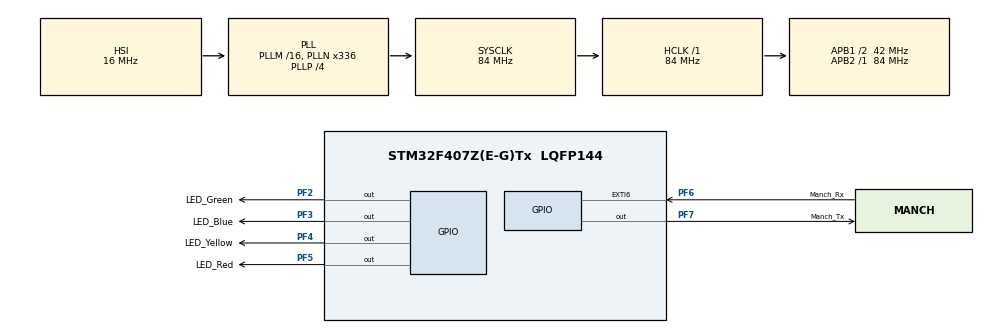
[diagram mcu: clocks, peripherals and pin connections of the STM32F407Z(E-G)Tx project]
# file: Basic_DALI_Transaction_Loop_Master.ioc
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Mcu.Family=STM32F4
Mcu.Name=STM32F407Z(E-G)Tx
Mcu.Package=LQFP144
NVIC.EXTI9_5_IRQn=true\:1\:0\:true\:false\:true\:true
NVIC.PriorityGroup=NVIC_PRIORITYGROUP_4
NVIC.TIM2_IRQn=true\:1\:0\:true\:false\:true\:true
PF2.GPIO_Label=LED_Green
PF2.GPIO_PuPd=GPIO_PULLDOWN
PF2.Signal=GPIO_Output
PF3.GPIO_Label=LED_Blue
PF3.GPIO_PuPd=GPIO_PULLDOWN
PF3.Signal=GPIO_Output
PF4.GPIO_Label=LED_Yellow
PF4.GPIO_PuPd=GPIO_PULLDOWN
PF4.Signal=GPIO_Output
PF5.GPIO_Label=LED_Red
PF5.GPIO_PuPd=GPIO_PULLDOWN
PF5.Signal=GPIO_Output
PF6.GPIO_Label=Manch_Rx
PF6.GPIO_ModeDefaultEXTI=GPIO_MODE_IT_RISING_FALLING
PF6.GPIO_PuPd=GPIO_PULLDOWN
PF6.Signal=GPXTI6
PF7.GPIO_Label=Manch_Tx
PF7.GPIO_PuPd=GPIO_PULLDOWN
PF7.Signal=GPIO_Output
ProjectManager.HeapSize=0x200
ProjectManager.StackSize=0x400
ProjectManager.TargetToolchain=Makefile
RCC.48MHZClocksFreq_Value=84000000
RCC.AHBFreq_Value=84000000
RCC.APB1CLKDivider=RCC_HCLK_DIV2
RCC.APB1Freq_Value=42000000
RCC.APB1TimFreq_Value=84000000
RCC.APB2Freq_Value=84000000
RCC.APB2TimFreq_Value=84000000
RCC.CortexFreq_Value=84000000
RCC.HCLKFreq_Value=84000000
RCC.HSE_VALUE=25000000
RCC.HSI_VALUE=16000000
RCC.LSE_VALUE=32768
RCC.PLLN=336
RCC.PLLP=RCC_PLLP_DIV4
RCC.SYSCLKFreq_VALUE=84000000
RCC.SYSCLKSource=RCC_SYSCLKSOURCE_PLLCLK
RCC.VCOOutputFreq_Value=336000000
TIM2.Period=103
TIM2.Prescaler=83
VP_TIM2_VS_ClockSourceINT.Mode=Internal
board=Basic_DALI_Transaction_Loop_Master

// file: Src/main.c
/**
  ******************************************************************************
  * File Name          : main.c
  * Description        : Main program body
  ******************************************************************************
  ** This notice applies to any and all portions of this file
  * that are not between comment pairs USER CODE BEGIN and
  * USER CODE END. Other portions of this file, whether
  * inserted by the user or by software development tools
  * are owned by their respective copyright owners.
  *
  * COPYRIGHT(c) 2017 STMicroelectronics
  *
  * Redistribution and use in source and binary forms, with or without modification,
  * are permitted provided that the following conditions are met:
  *   1. Redistributions of source code must retain the above copyright notice,
  *      this list of conditions and the following disclaimer.
  *   2. Redistributions in binary form must reproduce the above copyright notice,
  *      this list of conditions and the following disclaimer in the documentation
  *      and/or other materials provided with the distribution.
  *   3. Neither the name of STMicroelectronics nor the names of its contributors
  *      may be used to endorse or promote products derived from this software
  *      without specific prior written permission.
  *
  * THIS SOFTWARE IS PROVIDED BY THE COPYRIGHT HOLDERS AND CONTRIBUTORS "AS IS"
  * AND ANY EXPRESS OR IMPLIED WARRANTIES, INCLUDING, BUT NOT LIMITED TO, THE
  * IMPLIED WARRANTIES OF MERCHANTABILITY AND FITNESS FOR A PARTICULAR PURPOSE ARE
  * DISCLAIMED. IN NO EVENT SHALL THE COPYRIGHT HOLDER OR CONTRIBUTORS BE LIABLE
  * FOR ANY DIRECT, INDIRECT, INCIDENTAL, SPECIAL, EXEMPLARY, OR CONSEQUENTIAL
  * DAMAGES (INCLUDING, BUT NOT LIMITED TO, PROCUREMENT OF SUBSTITUTE GOODS OR
  * SERVICES; LOSS OF USE, DATA, OR PROFITS; OR BUSINESS INTERRUPTION) HOWEVER
  * CAUSED AND ON ANY THEORY OF LIABILITY, WHETHER IN CONTRACT, STRICT LIABILITY,
  * OR TORT (INCLUDING NEGLIGENCE OR OTHERWISE) ARISING IN ANY WAY OUT OF THE USE
  * OF THIS SOFTWARE, EVEN IF ADVISED OF THE POSSIBILITY OF SUCH DAMAGE.
  *
  ******************************************************************************
  */

#include "main.h"
#include "stm32f4xx_hal.h"

/* USER CODE BEGIN Includes */
//DALI STATES
#define SENDING_DATA 1

//pin states
#define DALI_START_BIT_PULSE 0
#define DALI_END_BIT_PULSE 1
/* USER CODE END Includes */

TIM_HandleTypeDef htim2;

/* USER CODE BEGIN PV */
/* Private variables ---------------------------------------------------------*/
// MANCHESTER ENCODING VARIABLES
/* Half-bit period T value in usec(microsecond)s*/
/* static uint32_t T = 416; */

//MASTER DATA SENDING VARIABLES
/* This array represents the forward frame with address and cmd bytes */
unsigned char dali_master_array_cmd[17] = {};

/* /\* This array represents the received response from slave *\/ */
volatile unsigned char dali_master_array_receive_buffer[9] = {};

// uncertain
unsigned char ballastAddr = 0xD5;
unsigned char cmd = 0x56;

// actual and former value variables
unsigned char actual_val;
unsigned char former_val;

unsigned char dali_state;

// MANCHESTER DECODING VARIABLES

/* This variable designates first interrupt for Manchester-Decoding*/
unsigned char start_timer = 0;

/* This variable is used to measure the ticks of timer2 */
int tick_count = 0;

unsigned char bit_count = 0;

/* USER CODE END PV */

void SystemClock_Config(void);
static void MX_GPIO_Init(void);
static void MX_TIM2_Init(void);

/* USER CODE BEGIN PFP */
/* Private function prototypes -----------------------------------------------*/
void DALI_Master_Sending_Data(void);
void PrepareDataToSend(unsigned char *commandArray, unsigned char *tx_array, unsigned char bytesInCmd);
void DALI_Send_Cmd(unsigned char ballastAddr, unsigned char cmd);
/* USER CODE END PFP */

int main(void)
{

  /* MCU Configuration----------------------------------------------------------*/

  /* Reset of all peripherals, Initializes the Flash interface and the Systick. */
  HAL_Init();

  /* Configure the system clock */
  SystemClock_Config();

  /* Initialize all configured peripherals */
  MX_GPIO_Init();
  MX_TIM2_Init();

  /* USER CODE BEGIN 2 */
  HAL_GPIO_WritePin(Manch_Tx_GPIO_Port, Manch_Tx_Pin, GPIO_PIN_SET);
  /* HAL_Delay(1); */
  if(HAL_TIM_Base_Start_IT(&htim2) != HAL_OK)
    {
      _Error_Handler(__FILE__, __LINE__);
    }
  // using DALI_Send_Cmd function modified!! without typeofCmd and followingType variables)
  DALI_Send_Cmd(ballastAddr, cmd);
  /* USER CODE END 2 */

  /* Infinite loop */
  while (1)
  {

  }

}

/** System Clock Configuration
*/
void SystemClock_Config(void)
{

  RCC_OscInitTypeDef RCC_OscInitStruct;
  RCC_ClkInitTypeDef RCC_ClkInitStruct;

    /**Configure the main internal regulator output voltage
    */
  __HAL_RCC_PWR_CLK_ENABLE();

  __HAL_PWR_VOLTAGESCALING_CONFIG(PWR_REGULATOR_VOLTAGE_SCALE1);

    /**Initializes the CPU, AHB and APB busses clocks
    */
  RCC_OscInitStruct.OscillatorType = RCC_OSCILLATORTYPE_HSI;
  RCC_OscInitStruct.HSIState = RCC_HSI_ON;
  RCC_OscInitStruct.HSICalibrationValue = 16;
  RCC_OscInitStruct.PLL.PLLState = RCC_PLL_ON;
  RCC_OscInitStruct.PLL.PLLSource = RCC_PLLSOURCE_HSI;
  RCC_OscInitStruct.PLL.PLLM = 16;
  RCC_OscInitStruct.PLL.PLLN = 336;
  RCC_OscInitStruct.PLL.PLLP = RCC_PLLP_DIV4;
  RCC_OscInitStruct.PLL.PLLQ = 4;
  if (HAL_RCC_OscConfig(&RCC_OscInitStruct) != HAL_OK)
  {
    _Error_Handler(__FILE__, __LINE__);
  }

    /**Initializes the CPU, AHB and APB busses clocks
    */
  RCC_ClkInitStruct.ClockType = RCC_CLOCKTYPE_HCLK|RCC_CLOCKTYPE_SYSCLK
                              |RCC_CLOCKTYPE_PCLK1|RCC_CLOCKTYPE_PCLK2;
  RCC_ClkInitStruct.SYSCLKSource = RCC_SYSCLKSOURCE_PLLCLK;
  RCC_ClkInitStruct.AHBCLKDivider = RCC_SYSCLK_DIV1;
  RCC_ClkInitStruct.APB1CLKDivider = RCC_HCLK_DIV2;
  RCC_ClkInitStruct.APB2CLKDivider = RCC_HCLK_DIV1;

  if (HAL_RCC_ClockConfig(&RCC_ClkInitStruct, FLASH_LATENCY_2) != HAL_OK)
  {
    _Error_Handler(__FILE__, __LINE__);
  }

    /**Configure the Systick interrupt time
    */
  HAL_SYSTICK_Config(HAL_RCC_GetHCLKFreq()/1000);

    /**Configure the Systick
    */
  HAL_SYSTICK_CLKSourceConfig(SYSTICK_CLKSOURCE_HCLK);

  /* SysTick_IRQn interrupt configuration */
  HAL_NVIC_SetPriority(SysTick_IRQn, 0, 0);
}

/* TIM2 init function */
static void MX_TIM2_Init(void)
{

  TIM_ClockConfigTypeDef sClockSourceConfig;
  TIM_MasterConfigTypeDef sMasterConfig;

  htim2.Instance = TIM2;
  htim2.Init.Prescaler = 83;
  htim2.Init.CounterMode = TIM_COUNTERMODE_UP;
  htim2.Init.Period = 103;
  htim2.Init.ClockDivision = TIM_CLOCKDIVISION_DIV1;
  if (HAL_TIM_Base_Init(&htim2) != HAL_OK)
  {
    _Error_Handler(__FILE__, __LINE__);
  }

  sClockSourceConfig.ClockSource = TIM_CLOCKSOURCE_INTERNAL;
  if (HAL_TIM_ConfigClockSource(&htim2, &sClockSourceConfig) != HAL_OK)
  {
    _Error_Handler(__FILE__, __LINE__);
  }

  sMasterConfig.MasterOutputTrigger = TIM_TRGO_RESET;
  sMasterConfig.MasterSlaveMode = TIM_MASTERSLAVEMODE_DISABLE;
  if (HAL_TIMEx_MasterConfigSynchronization(&htim2, &sMasterConfig) != HAL_OK)
  {
    _Error_Handler(__FILE__, __LINE__);
  }

}

/** Configure pins as
        * Analog
        * Input
        * Output
        * EVENT_OUT
        * EXTI
*/
static void MX_GPIO_Init(void)
{

  GPIO_InitTypeDef GPIO_InitStruct;

  /* GPIO Ports Clock Enable */
  __HAL_RCC_GPIOF_CLK_ENABLE();

  /*Configure GPIO pin Output Level */
  HAL_GPIO_WritePin(GPIOF, LED_Green_Pin|LED_Blue_Pin|LED_Yellow_Pin|LED_Red_Pin
                          |Manch_Tx_Pin, GPIO_PIN_RESET);

  /*Configure GPIO pins : LED_Green_Pin LED_Blue_Pin LED_Yellow_Pin LED_Red_Pin
                           Manch_Tx_Pin */
  GPIO_InitStruct.Pin = LED_Green_Pin|LED_Blue_Pin|LED_Yellow_Pin|LED_Red_Pin
                          |Manch_Tx_Pin;
  GPIO_InitStruct.Mode = GPIO_MODE_OUTPUT_PP;
  GPIO_InitStruct.Pull = GPIO_PULLDOWN;
  GPIO_InitStruct.Speed = GPIO_SPEED_FREQ_LOW;
  HAL_GPIO_Init(GPIOF, &GPIO_InitStruct);

  /*Configure GPIO pin : Manch_Rx_Pin */
  GPIO_InitStruct.Pin = Manch_Rx_Pin;
  GPIO_InitStruct.Mode = GPIO_MODE_IT_RISING_FALLING;
  GPIO_InitStruct.Pull = GPIO_PULLDOWN;
  HAL_GPIO_Init(Manch_Rx_GPIO_Port, &GPIO_InitStruct);

  /* EXTI interrupt init*/
  HAL_NVIC_SetPriority(EXTI9_5_IRQn, 1, 0);
  HAL_NVIC_EnableIRQ(EXTI9_5_IRQn);

}

/* USER CODE BEGIN 4 */
/* This function is used together with PrepareDatatoSend fucntion to manchester encode the ballastAddr and cmd values */
void DALI_Send_Cmd(unsigned char ballastAddr, unsigned char cmd)
{

  unsigned char data_array[2] = {};
  /* unsigned char i; */

  /*++++++++++++++++++++++++++++++++++++++++++++++++++++++++++++++++++++*/

  /* Here supposed to be starting the Manch_Tx pin in HIGH state or
     SETTLING STATE but for now it has been skipped */
  // Set Manch_Tx pin as high
  /* HAL_GPIO_WritePin(Manch_Tx_GPIO_Port, Manch_Tx_Pin, GPIO_PIN_SET); */

  /*++++++++++++++++++++++++++++++++++++++++++++++++++++++++++++++++++++*/

  // reset tick_count and bit_count values
  tick_count = 0;
  bit_count = 0;

  // fetch ballast address and command
  data_array[0] = (char)ballastAddr;
  data_array[1] = (char)cmd;
  PrepareDataToSend(data_array, dali_master_array_cmd, 2);

  // set DALI state to send DATA
  dali_state = SENDING_DATA;

}
void PrepareDataToSend(unsigned char *commandArray, unsigned char *tx_array, unsigned char bytesInCmd)
{
  // set default value for the mask
  unsigned char mask = 0x80;
  // variable which hold one byte value - one element from commandArray
  unsigned char dummy;

  // number of bytes in command
  unsigned char bytes_counter;
  unsigned char i;
  // number of active bit
  unsigned char bitCounter = 0;

  //????????????????????????????????????????//
  /* Why does it need to be initialized ?? */
  for (i = 0; i < 9; i++)
    {
      tx_array[0] = 0;
    }

  // loop through all bytes in commandArray
  for(bytes_counter = 0; bytes_counter < bytesInCmd; bytes_counter++)
    {
      // assign byte for use
      dummy = commandArray[bytes_counter];
      // set mask to default value
      mask = 0x80;
      // increment number of active bit
      bitCounter++;
      // check if active bit is the first one
      if(bitCounter == 1)
	{
	  // Start bit is always 1 - in manchester that is END_BIT_PULSE
	  tx_array[0] = DALI_END_BIT_PULSE;
	}

      // 2 byte command
      for(i = 1; i < 9; i++)
	{
	  // check if bit is one
	  if(dummy & mask)
	    {
	      // assign pulse value
	      tx_array[i + (8 * bytes_counter)] = DALI_END_BIT_PULSE;
	    }
	  else
	    {
	      tx_array[i + (8 * bytes_counter)] = DALI_START_BIT_PULSE;
	    }
	  // check mask value
	  if(mask == 0x01)
	    {
	      mask <<= 7; // shift mask bit to MSB
	    }
	  else
	    {
	      mask >>= 1; // shift mask bit to 1 right
	    }
	}
    }
}
void HAL_TIM_PeriodElapsedCallback(TIM_HandleTypeDef *htim)
{
  if(dali_state == SENDING_DATA)
    {
      DALI_Master_Sending_Data();
    }
}

/* void DALI_Master_Receiving_Data(void) */
/* { */
/*   // Yet to configure */

/* } */
/* Included start_bit as 1 */
void DALI_Master_Sending_Data(void)
{
  unsigned char pulsePosition = 0;
  if(tick_count < 8)
    {
      /* +++++++++++++++++++++++++++++++++++++++++++++++++++++++++++++++++*/
      /* This line is added just to give the starting interrupt so
	 that the timer stars counting ...!! */
      HAL_GPIO_WritePin(Manch_Tx_GPIO_Port, Manch_Tx_Pin, GPIO_PIN_SET);
      /* Uncertain about the above text anyway! Has to be changed
	 accordingly */
      /*+++++++++++++++++++++++++++++++++++++++++++++++++++++++++++++++++*/
      if(tick_count < 4)
	{
	  HAL_GPIO_WritePin(Manch_Tx_GPIO_Port, Manch_Tx_Pin, GPIO_PIN_RESET);
	}
      else
	{
	  /*+++++++++++++++++++++++++++++++++++++++++++++++++++++++++++++*/
	  /* Check for proper debugging option here */
	  /* HAL_GPIO_WritePin(LED_Yellow_GPIO_Port, LED_Yellow_Pin, GPIO_PIN_RESET); */
	  /*+++++++++++++++++++++++++++++++++++++++++++++++++++++++++++++*/
	  HAL_GPIO_WritePin(Manch_Tx_GPIO_Port, Manch_Tx_Pin, GPIO_PIN_SET);
	}
    }
  else if(bit_count < 17)
    {
      if(tick_count % 4 == 0)
  	{
  	  pulsePosition = tick_count / 4;
  	  if(pulsePosition % 2 == 0)
  	    {
	      if(dali_master_array_cmd[bit_count] == 0)
  		{
  		  HAL_GPIO_WritePin(Manch_Tx_GPIO_Port, Manch_Tx_Pin, GPIO_PIN_SET);
  		}
  	      else
  		{
  		  HAL_GPIO_WritePin(Manch_Tx_GPIO_Port, Manch_Tx_Pin, GPIO_PIN_RESET);
  		}
  	    }
  	  else
  	    {
  	      if(dali_master_array_cmd[bit_count] == 0)
  		{
  		  HAL_GPIO_WritePin(Manch_Tx_GPIO_Port, Manch_Tx_Pin, GPIO_PIN_RESET);
  		}
  	      else
  		{
  		  HAL_GPIO_WritePin(Manch_Tx_GPIO_Port, Manch_Tx_Pin, GPIO_PIN_SET);
  		}
  	    }
  	}
    }
  // increment tick_count
  tick_count++;

  if(tick_count % 8 == 0)
    {
      bit_count++;
    }

  if(bit_count > 16)
    {
      HAL_GPIO_WritePin(Manch_Tx_GPIO_Port, Manch_Tx_Pin, GPIO_PIN_SET);
      if(HAL_TIM_Base_Stop_IT(&htim2) != HAL_OK)
  	{
  	  _Error_Handler(__FILE__, __LINE__);
  	}
    }
}

/* USER CODE END 4 */

void _Error_Handler(char * file, int line)
{
  /* USER CODE BEGIN Error_Handler_Debug */

  /* Turn LED Yellow on */
  HAL_GPIO_WritePin(LED_Yellow_GPIO_Port, LED_Yellow_Pin, GPIO_PIN_SET);

  /* User can add his own implementation to report the HAL error return state */
  while(1)
  {
  }
  /* USER CODE END Error_Handler_Debug */
}

#ifdef USE_FULL_ASSERT

/**
   * @brief Reports the name of the source file and the source line number
   * where the assert_param error has occurred.
   * @param file: pointer to the source file name
   * @param line: assert_param error line source number
   * @retval None
   */
void assert_failed(uint8_t* file, uint32_t line)
{
  /* USER CODE BEGIN 6 */
  /* User can add his own implementation to report the file name and line number,
    ex: printf("Wrong parameters value: file %s on line %d\r\n", file, line) */
  _Error_Handler(__FILE__, __LINE__);
  /* USER CODE END 6 */

}

#endif

/************************ (C) COPYRIGHT STMicroelectronics *****END OF FILE****/
